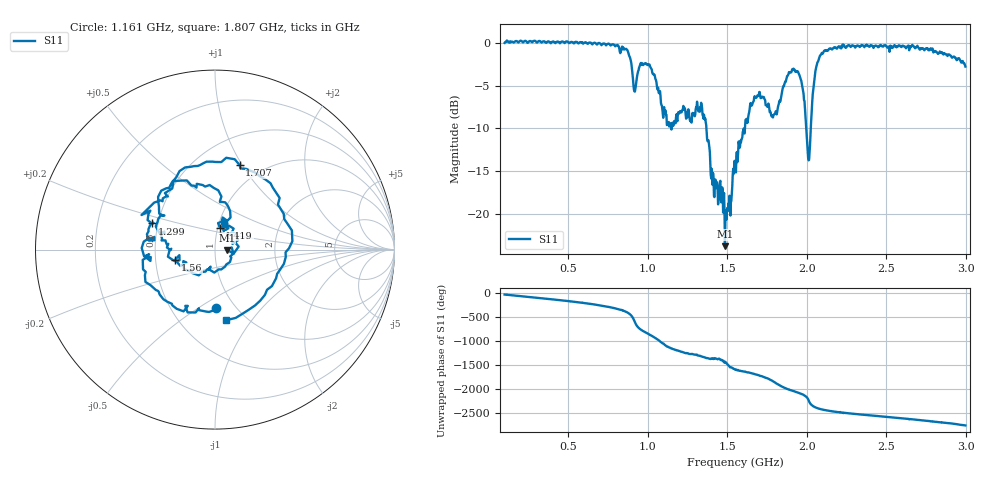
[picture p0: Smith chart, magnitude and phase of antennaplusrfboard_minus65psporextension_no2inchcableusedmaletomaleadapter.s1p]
# HZ S RI R 50
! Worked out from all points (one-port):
!   1009 points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, 100 MHz to 2.997 GHz, reference 50 ohm
!   lowest |S11| = -23.7 dB at 1.485 GHz (marker M1), VSWR 1.14, Z = 57 - j0.179 ohm
!   |S11| at or under -10 dB: 1.148002 GHz to 1.150099 GHz (2.097 MHz wide, 0.183 % of centre); 1.369 GHz to 1.611 GHz (242.3 MHz wide, 16.3 % of centre); 1.997 GHz to 2.025 GHz (27.95 MHz wide, 1.39 % of centre)
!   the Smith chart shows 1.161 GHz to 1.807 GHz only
!   S11 on the Smith chart (normalised r, x): 1.161 GHz: 0.81, -0.60; 1.299 GHz: 0.46, +0.16; 1.419 GHz: 1.02, +0.26; 1.56 GHz: 0.63, -0.08; 1.707 GHz: 0.79, +0.97; 1.807 GHz: 0.81, -0.76
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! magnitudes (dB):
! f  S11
! 100 MHz  0.0
! 462.1 MHz  0.1
! 824.3 MHz  -1.1
! 878.9 MHz  -1.2
! 919.1 MHz  -5.7
! 956.5 MHz  -2.4
! 1.011 GHz  -2.6
! 1.109 GHz  -8.1
! 1.161 GHz  -9.7
! 1.186 GHz  -9.2
! 1.299 GHz  -8.4
! 1.35 GHz  -8.9
! 1.419 GHz  -18.0
! 1.485 GHz  -23.7
! 1.517 GHz  -18.8
! 1.549 GHz  -14.2
! 1.56 GHz  -12.8
! 1.655 GHz  -7.3
! 1.707 GHz  -6.2
! 1.807 GHz  -8.0
! 1.911 GHz  -3.1
! 1.965 GHz  -4.4
! 2.011 GHz  -13.7
! 2.049 GHz  -4.1
! 2.08 GHz  -1.7
! 2.273 GHz  -0.4
! 2.635 GHz  -0.4
! 2.997 GHz  -2.8
